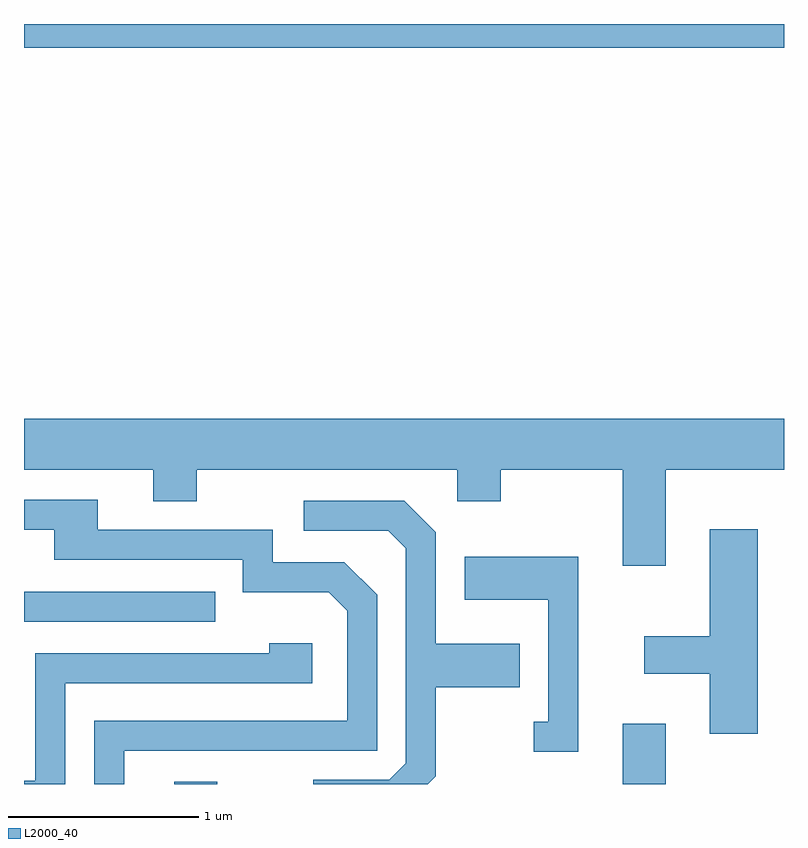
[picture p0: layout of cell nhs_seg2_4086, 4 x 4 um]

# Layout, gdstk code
import gdstk
lib = gdstk.Library(unit=1e-6, precision=1e-09)
def R(c, l, rs):  # rectangles x0, y0, x1, y1
    for r in rs: c.add(gdstk.rectangle(r[:2], r[2:], *l))
def P(c, l, *ps):  # polygons
    for p in ps: c.add(gdstk.Polygon(p, *l))
L2000_40 = (2000, 40)

nhs_seg2_4086 = lib.new_cell('nhs_seg2_4086')
R(nhs_seg2_4086, L2000_40, [(306.401,1017.802,306.629,1017.814), (308.761,1017.802,308.989,1018.119), (305.611,1018.656,306.618,1018.814), (305.611,1021.676,309.611,1021.802)])
P(nhs_seg2_4086, L2000_40, [(308.989,1019.456),(309.611,1019.456),(309.611,1019.724),(305.611,1019.724),(305.611,1019.456),(306.291,1019.456),(306.291,1019.291),(306.519,1019.291),(306.519,1019.456),(307.891,1019.456),(307.891,1019.291),(308.119,1019.291),(308.119,1019.456),(308.761,1019.456),(308.761,1018.951),(308.989,1018.951)],
  [(306.139,1017.976),(307.469,1017.976),(307.469,1018.797),(307.297,1018.969),(306.919,1018.969),(306.919,1019.139),(305.999,1019.139),(305.999,1019.299),(305.611,1019.299),(305.611,1019.141),(305.771,1019.141),(305.771,1018.981),(306.761,1018.981),(306.761,1018.811),(307.214,1018.811),(307.311,1018.714),(307.311,1018.134),(305.981,1018.134),(305.981,1017.802),(306.139,1017.802)],
  [(307.779,1017.844),(307.779,1018.311),(308.219,1018.311),(308.219,1018.539),(307.779,1018.539),(307.779,1019.127),(307.612,1019.294),(307.083,1019.294),(307.083,1019.136),(307.529,1019.136),(307.621,1019.044),(307.621,1017.912),(307.534,1017.824),(307.133,1017.824),(307.133,1017.802),(307.737,1017.802)],
  [(309.474,1019.144),(309.221,1019.144),(309.221,1018.579),(308.876,1018.579),(308.876,1018.381),(309.221,1018.381),(309.221,1018.066),(309.474,1018.066)],
  [(308.529,1018.999),(307.931,1018.999),(307.931,1018.771),(308.371,1018.771),(308.371,1018.129),(308.293,1018.129),(308.293,1017.971),(308.529,1017.971)],
  [(305.829,1018.331),(307.129,1018.331),(307.129,1018.544),(306.901,1018.544),(306.901,1018.489),(305.671,1018.489),(305.671,1017.819),(305.611,1017.819),(305.611,1017.802),(305.829,1017.802)])

lib.write_gds('nhs_seg2_4086.gds')
